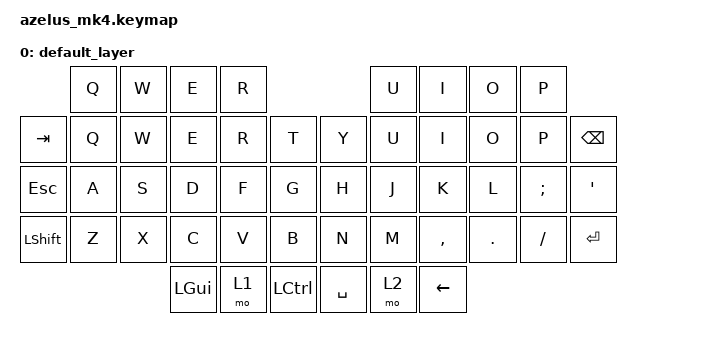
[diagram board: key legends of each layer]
/*
 * Copyright (c) 2020 The ZMK Contributors
 *
 * SPDX-License-Identifier: MIT
 */

#include <behaviors.dtsi>
#include <dt-bindings/zmk/keys.h>
#include <dt-bindings/zmk/bt.h>

/ {
    keymap0: keymap {
        compatible = "zmk,keymap";

        default_layer {
            bindings = <
                          &kp Q    &kp W    &kp E    &kp R                          &kp U  &kp I     &kp O    &kp P                           
                &kp TAB   &kp Q    &kp W    &kp E    &kp R  &kp T         &kp Y     &kp U  &kp I     &kp O    &kp P     &kp BSPC
                &kp ESC   &kp A    &kp S    &kp D    &kp F  &kp G         &kp H     &kp J  &kp K     &kp L    &kp SEMI  &kp SQT
                &kp LSHFT &kp Z    &kp X    &kp C    &kp V  &kp B         &kp N     &kp M  &kp COMMA &kp DOT  &kp SLASH &kp RET
                                            &kp LGUI &mo 1  &kp LCTL      &kp SPACE &mo 2  &kp LEFT 
            >;
        };
    };
};
